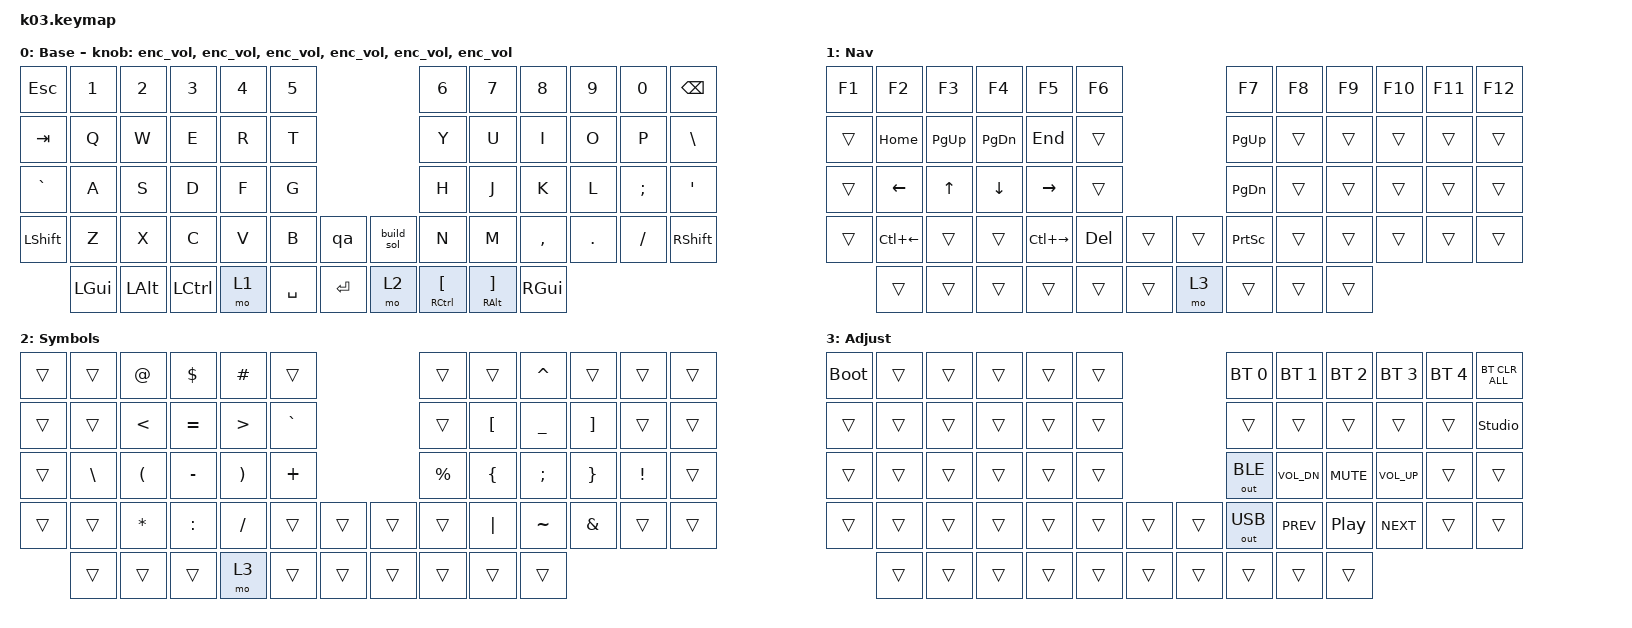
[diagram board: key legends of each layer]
#include "keys_ru.h"
#include <behaviors.dtsi>
#include <dt-bindings/zmk/bt.h>
#include <dt-bindings/zmk/keys.h>
#include <dt-bindings/zmk/outputs.h>

/ {
    behaviors {
        enc_vol: enc_vol {
            compatible = "zmk,behavior-sensor-rotate";
            label = "ENC_VOL";
            #sensor-binding-cells = <0>;
            bindings = <&kp C_VOL_UP>, <&kp C_VOL_DN>;
        };
    };

    qa: qa {
      compatible = "zmk,behavior-macro";
      #binding-cells = <0>;
      bindings = <&kp LC(DOT)>; /* Quick Actions: Ctrl+. */
    };

    build_sol: build_sol {
      compatible = "zmk,behavior-macro";
      #binding-cells = <0>;
      bindings = <&kp LC(LS(B))>; /* Build Solution: Ctrl+Shift+B */
    };

    combos {
      compatible = "zmk,combos";
      /* Both Shift keys together -> Caps Word: types A_CONSTANT_NAME, cancels itself. */
      combo_caps {
        bindings = <&caps_word>;
        key-positions = <36 49>;
        timeout-ms = <50>;
      };
    };

    keymap {
        compatible = "zmk,keymap";

        base {
            bindings = <
        &kp ESC   &kp N1  &kp N2  &kp N3  &kp N4  &kp N5                         &kp N6  &kp N7  &kp N8  &kp N9  &kp N0   &kp BSPC
        &kp TAB &kp Q   &kp W   &kp E   &kp R   &kp T                          &kp Y   &kp U   &kp I   &kp O   &kp P    &kp BSLH
        &kp GRAVE   &kp A   &kp S   &kp D   &kp F   &kp G                          &kp H   &kp J   &kp K   &kp L   &kp SEMI  &kp SQT
        &kp LSHFT &kp Z   &kp X   &kp C   &kp V   &kp B     &qa        &build_sol &kp N   &kp M   &kp COMMA  &kp DOT  &kp FSLH  &kp RSHFT
                         &kp LGUI &kp LALT &kp LCTRL &mo 1  &kp SPACE  &kp ENTER  &mo 2   &mt RCTRL LBKT  &mt RALT RBKT  &kp RGUI
            >;

            display-name = "Base";
            sensor-bindings =
                <&enc_vol>,
                <&enc_vol>,
                <&enc_vol>,
                <&enc_vol>,
                <&enc_vol>,
                <&enc_vol>;
        };

        nav {
            bindings = <
        &kp F1  &kp F2  &kp F3        &kp F4    &kp F5         &kp F6                     &kp F7           &kp F8  &kp F9  &kp F10  &kp F11  &kp F12
        &trans  &kp HOME  &kp PG_UP   &kp PG_DN  &kp END       &trans                     &kp PG_UP        &trans  &trans  &trans   &trans   &trans
        &trans  &kp LEFT  &kp UP      &kp DOWN   &kp RIGHT     &trans                     &kp PG_DN        &trans  &trans  &trans   &trans   &trans
        &trans  &kp LC(LEFT)  &trans  &trans     &kp LC(RIGHT)  &kp DEL   &trans  &trans  &kp PRINTSCREEN  &trans  &trans  &trans   &trans   &trans
               &trans        &trans    &trans         &trans   &trans    &trans  &mo 3            &trans  &trans  &trans
            >;

            display-name = "Nav";
        };

        sym {
            bindings = <
&trans  &trans    &kp AT    &kp DLLR   &kp HASH  &trans                       &trans     &trans    &kp CARET  &trans    &trans    &trans
&trans  &trans    &kp LT    &kp EQUAL  &kp GT    &kp GRAVE                    &trans     &kp LBKT  &kp UNDER  &kp RBKT  &trans    &trans
&trans  &kp BSLH  &kp LPAR  &kp MINUS  &kp RPAR  &kp PLUS                     &kp PRCNT  &kp LBRC  &kp SEMI   &kp RBRC  &kp EXCL  &trans
&trans  &trans    &kp STAR  &kp COLON  &kp FSLH  &trans     &trans    &trans  &trans     &kp PIPE  &kp TILDE  &kp AMPS  &trans    &trans
                  &trans    &trans     &trans    &mo 3      &trans    &trans  &trans     &trans    &trans     &trans
            >;

            display-name = "Symbols";
        };

        adj {
            bindings = <
&bootloader  &trans  &trans  &trans  &trans  &trans                    &bt BT_SEL 0  &bt BT_SEL 1  &bt BT_SEL 2      &bt BT_SEL 3  &bt BT_SEL 4  &bt BT_CLR_ALL
&trans       &trans  &trans  &trans  &trans  &trans                    &trans        &trans        &trans            &trans        &trans        &studio_unlock
&trans       &trans  &trans  &trans  &trans  &trans                    &out OUT_BLE  &kp C_VOL_DN  &kp C_MUTE        &kp C_VOL_UP  &trans        &trans
&trans       &trans  &trans  &trans  &trans  &trans  &trans    &trans  &out OUT_USB  &kp C_PREV    &kp C_PLAY_PAUSE  &kp C_NEXT    &trans        &trans
                     &trans  &trans  &trans  &trans  &trans    &trans  &trans        &trans        &trans            &trans
            >;

            display-name = "Adjust";
        };
    };
};
